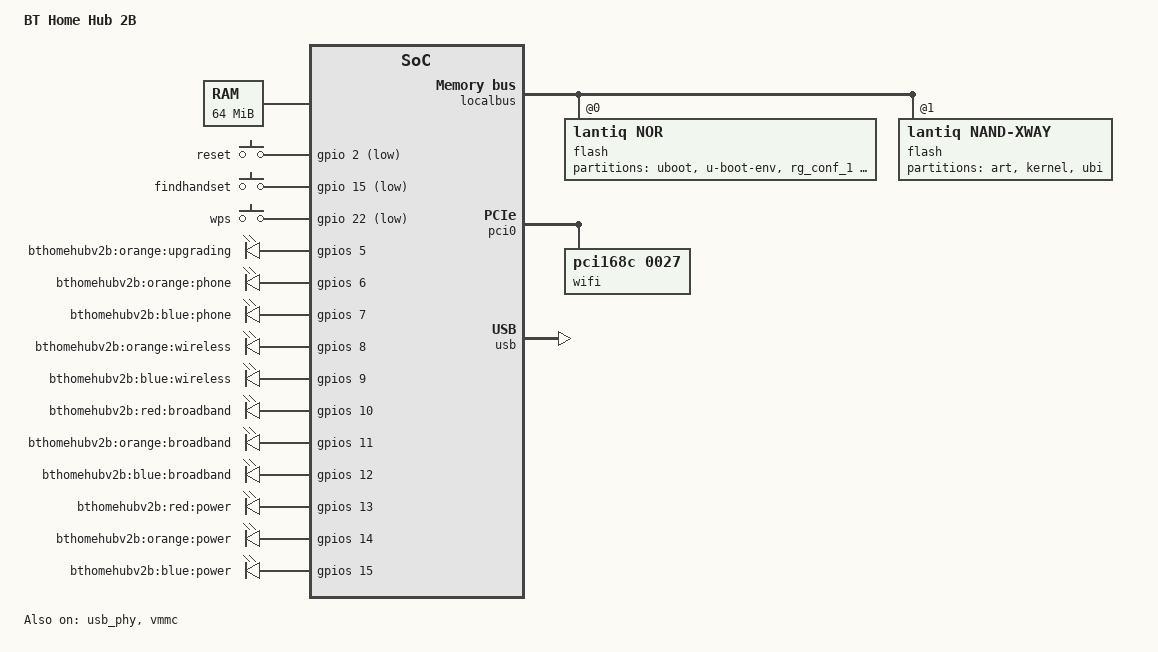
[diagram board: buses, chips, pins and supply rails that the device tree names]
/dts-v1/;

#include "danube.dtsi"

#include <dt-bindings/input/input.h>

/ {
	compatible = "bt,homehub-v2b", "lantiq,xway", "lantiq,danube";
	model = "BT Home Hub 2B";  /* SoC: Lantiq Danube-S PSB 50712 @ 333MHz V1.3/1.5 */

	chosen {
		bootargs = "console=ttyLTQ0,115200";
	};

	aliases {
		led-boot = &power_orange;
		led-failsafe = &power_red;
		led-running = &power_blue;
		led-upgrade = &power_blue;

		led-dsl = &broadband_blue;
		led-wifi = &wireless_blue;
	};

	memory@0 {				  /* RAM: Samsung K4H511638F-LC 64MB */
		device_type = "memory";
		reg = <0x0 0x4000000>;
	};

	keys {
		compatible = "gpio-keys-polled";
		poll-interval = <100>;

		reset {
			label = "reset";
			gpios = <&gpio 2 GPIO_ACTIVE_LOW>;
			linux,code = <KEY_RESTART>;
		};
		findhandset {
			label = "findhandset";
			gpios = <&gpio 15 GPIO_ACTIVE_LOW>;
			linux,code = <KEY_PHONE>;
		};
		wps {
			label = "wps";
			gpios = <&gpio 22 GPIO_ACTIVE_LOW>;
			linux,code = <KEY_WPS_BUTTON>;
		};
	};

	leds {
		compatible = "gpio-leds";

		upgrading-orange {
			label = "bthomehubv2b:orange:upgrading";
			gpios = <&gpios 5 GPIO_ACTIVE_HIGH>;
		};

		phone-orange {
			label = "bthomehubv2b:orange:phone";
			gpios = <&gpios 6 GPIO_ACTIVE_HIGH>;
		};
		phone-blue {
			label = "bthomehubv2b:blue:phone";
			gpios = <&gpios 7 GPIO_ACTIVE_HIGH>;
		};

		wireless-orange {
			label = "bthomehubv2b:orange:wireless";
			gpios = <&gpios 8 GPIO_ACTIVE_HIGH>;
		};
		wireless_blue: wireless-blue {
			label = "bthomehubv2b:blue:wireless";
			gpios = <&gpios 9 GPIO_ACTIVE_HIGH>;
		};

		broadband-red {
			label = "bthomehubv2b:red:broadband";
			gpios = <&gpios 10 GPIO_ACTIVE_HIGH>;
		};
		broadband-orange {
			label = "bthomehubv2b:orange:broadband";
			gpios = <&gpios 11 GPIO_ACTIVE_HIGH>;
		};
		broadband_blue: broadband-blue {
			label = "bthomehubv2b:blue:broadband";
			gpios = <&gpios 12 GPIO_ACTIVE_HIGH>;
		};

		power_red: power-red {
			label = "bthomehubv2b:red:power";
			gpios = <&gpios 13 GPIO_ACTIVE_HIGH>;
		};
		power_orange: power-orange {
			label = "bthomehubv2b:orange:power";
			gpios = <&gpios 14 GPIO_ACTIVE_HIGH>;
			default-state = "keep";
		};
		power_blue: power-blue {
			label = "bthomehubv2b:blue:power";
			gpios = <&gpios 15 GPIO_ACTIVE_HIGH>;
		};
	};
};

&gpio {
	pinctrl-names = "default";
	pinctrl-0 = <&state_default>;

	state_default: pinmux {
		exin {
			lantiq,groups = "exin1";
			lantiq,function = "exin";
		};

		pci_rst {
			lantiq,pins = "io21";
			lantiq,output = <1>;
			lantiq,open-drain = <0>;
		};

		btn_in {
			lantiq,pins = "io2", "io15", "io22";
			lantiq,output = <0>;
			lantiq,open-drain = <1>;
			lantiq,pull = <2>;
		};
	};
};

&gpios {
	status = "okay";
};

&gsw {
	phy-mode = "rmii";
};

&localbus {
	flash@0 {				/* NOR Flash: Spansion S29AL004D 512KB */
		compatible = "lantiq,nor";	/* "AMD AM29LV400BB" compatible on 3.3.8 */
		lantiq,cs = <0>;
		bank-width = <2>;
		reg = <0 0x0 0x80000>;

		partitions {
			compatible = "fixed-partitions";
			#address-cells = <1>;
			#size-cells = <1>;

			partition@0 {
				label = "uboot";
				reg = <0x00000 0x40000>; /* 256KB */
			};

			partition@40000 {
				label = "u-boot-env";
				reg = <0x40000 0x10000>; /* 64KB */
			};

			partition@50000 {
				label = "rg_conf_1";
				reg = <0x50000 0x10000>;
			};

			partition@60000 {
				label = "rg_conf_2";
				reg = <0x60000 0x10000>;
			};

			partition@70000 {
				label = "rg_conf_factory";
				reg = <0x70000 0x10000>;
			};
		};
	};

	flash@1 {		  /* NAND Flash: Samsung K9F5608U0D-JIB0 32MB */
		compatible = "lantiq,nand-xway";
		lantiq,cs = <1>;
		bank-width = <2>;
		reg = <1 0x0 0x2000000 >;
		req-mask = <0x1>;  /* PCI request lines to mask during NAND access */

		pinctrl-0 = <&nand_pins>, <&nand_cs1_pins>;
		pinctrl-names = "default";

		partitions {
			compatible = "fixed-partitions";
			#address-cells = <1>;
			#size-cells = <1>;

			ath9k_cal: partition@0 {
				label = "art";	   /* Atheros 9160 wifi b/g/n radio EEPROM */
				reg = <0x00000 0x4000>;
				read-only;
			};

			partition@4000 {
				label = "kernel";
				reg = <0x4000 0x200000>;
			};

			partition@164000 {
				label = "ubi";
				reg = <0x204000 0x1dfc000>;
			};
		};
	};
};

&pci0 {
	status = "okay";

	pinctrl-0 = <&pci_gnt1_pins>, <&pci_req1_pins>;
	pinctrl-names = "default";

	gpio-reset = <&gpio 21 GPIO_ACTIVE_HIGH>;

	wifi@168c,0027 {
		compatible = "pci168c,0027";
		reg = <0x7000 0 0 0 0>;
		qca,no-eeprom; /* load from ath9k-eeprom-pci-0000:00:0e.0.bin */
	};
};

&usb_phy {
	status = "okay";
};

&usb {
	status = "okay";
};

&vmmc {
	status = "okay";
	gpios = <&gpio 31 GPIO_ACTIVE_HIGH>;
};
